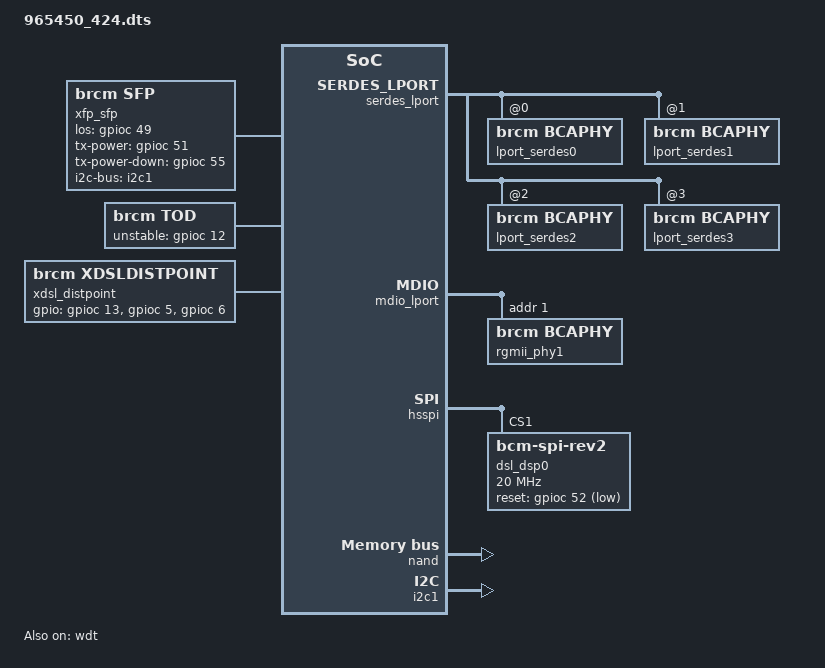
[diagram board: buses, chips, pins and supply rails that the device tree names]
#include "inc/65450.dtsi"

/ {
    memory_controller {
        memcfg = <(BP_DDR_SPEED_1067_14_14_14 | \
                   BP_DDR_TOTAL_SIZE_512MB    | \
                   BP_DDR_DEVICE_WIDTH_16     | \
                   BP_DDR_TOTAL_WIDTH_32BIT)>;
    };
};

/ {
    buttons {
        compatible = "brcm,buttons";
        reset_button {
            ext_irq = <&bca_extintr 54 BCA_GPIO_ACTIVE_LOW (BCA_EXTINTR_TYPE_LOW_LEVEL | BCA_EXTINTR_TYPE_SENSE_EDGE)>;
            press {
                print = "Button Press -- Hold for 5s to do restore to default";
   			};
            hold {
                rst_to_dflt = <5>;
            };
            release {
                reset = <0>;
            };	
        };
    };    

    xfp_sfp: xfp_sfp {
        pinctrl-names = "tx-sd";
        pinctrl-0 = <&a_rogue_onu_in_pin_56>;
        compatible = "brcm,sfp";
        i2c-bus = <&i2c1>;
        los-gpio = <&gpioc 49 GPIO_ACTIVE_HIGH>;
        mod-def0 = <&bca_extintr 60 BCA_GPIO_ACTIVE_LOW (BCA_EXTINTR_TYPE_BOTH_EDGE | BCA_EXTINTR_TYPE_SENSE_EDGE)>;
        tx-power-gpio = <&gpioc 51 GPIO_ACTIVE_HIGH>;
        tx-power-down-gpio = <&gpioc 55 GPIO_ACTIVE_HIGH>;
    };

    wan_serdes {
            compatible = "brcm,pon-drv";
            trx = <&xfp_sfp>;
    };

    tod {
        compatible = "brcm,tod";
        pinctrl-names = "default";
        pinctrl-0 = <&a_wan_nco_1pps_sig_pin_32>;

        unstable-gpio = <&gpioc 12 GPIO_ACTIVE_HIGH>;
    };

    xdsl_distpoint {
        compatible = "brcm,xdsldistpoint";
        gpios = <&gpioc 13 GPIO_ACTIVE_HIGH>, <&gpioc 5 GPIO_ACTIVE_HIGH>, <&gpioc 6 GPIO_ACTIVE_HIGH>;
        gpio-names = "reset-DCXO_PWDN", "70M_CLK_SEL", "CPE_DYING_GASP";
        gpio-default-val = <0 1 1>;
        // gpio-value-names-0 = "EXT", "DCXO";
        // gpio-value-names-2 = "Trigger DSL DYING GASP message to CO", "OFF";
    };

    dsldsp0: dsldsp {
        /* Defined below */
    };
};

&dsldsp0 {
        switchdsp0port0:0 {
                sw-type = "G9991_SW";

                ports {
                        #address-cells = <1>;
                        #size-cells = <0>;

                        port0@0 {
                                reg = <0>;
                        };

                        port1@1 {
                                reg = <1>;
                        };

                        port16@16 {
                                reg = <16>;
                                management;
                                label = "dsp0";
                        };

                        port18@18 {
                                reg = <18>;
                                error-sample;
                        };
                };
        };

        switchdsp0port1:1 {
                sw-type = "G9991_SW";

                ports {
                        #address-cells = <1>;
                        #size-cells = <0>;

                        port2@2 {
                                reg = <2>;
                        };

                        port3@3 {
                                reg = <3>;
                        };
                };
        };

        switchdsp0port2:2 {
                compatible = "brcm,runner-dpu";
                sw-type = "G9991_SW";

                ports {
                        #address-cells = <1>;
                        #size-cells = <0>;

                        port4@4 {
                                reg = <4>;
                        };

                        port5@5 {
                                reg = <5>;
                        };
                };
        };

        switchdsp0port3:3 {
                sw-type = "G9991_SW";

                ports {
                        #address-cells = <1>;
                        #size-cells = <0>;

                        port6@6 {
                                reg = <6>;
                        };

                        port7@7 {
                                reg = <7>;
                        };
                };
        };
};

&serdes_lport {
        lport_serdes0:0 {
                compatible = "brcm,bcaphy";
                phy-type = "SERDES";
                reg = <0x0>;
                caps-no-hdx;
        };

        lport_serdes1:1 {
                compatible = "brcm,bcaphy";
                phy-type = "SERDES";
                reg = <0x1>;
                caps-no-hdx;
        };

        lport_serdes2:2 {
                compatible = "brcm,bcaphy";
                phy-type = "SERDES";
                reg = <0x2>;
                caps-no-hdx;
        };

        lport_serdes3:3 {
                compatible = "brcm,bcaphy";
                phy-type = "SERDES";
                reg = <0x3>;
                caps-no-hdx;
        };
};

&mdio_lport {
        rgmii_phy1:rgmii_phy@1 {
                compatible = "brcm,bcaphy";
                phy-type = "EXT1";
                reg = <0x1>;
                caps-no-hdx;
        };
};

&switch0 {
        pinctrl-names = "default", "rgmii1";
        pinctrl-0 = <&lport_m_mdc_pin_98 &lport_m_mdio_pin_99 &rgmii1_pins>;
        pinctrl-1 = <&rgmii1_pins>;

        /delete-node/ ports;
        ports {
                #address-cells = <1>;
                #size-cells = <0>;

                port0@0 {
                        reg = <0>;
                        mac-type = "LPORT";
                        phy-handle = <&lport_serdes0>;
                        phy-mode = "hsgmii";
                        link = <&switchdsp0port0>;
                };

                port1@1 {
                        reg = <1>;
                        mac-type = "LPORT";
                        phy-handle = <&lport_serdes1>;
                        phy-mode = "hsgmii";
                        link = <&switchdsp0port1>;
                };

                port2@2 {
                        reg = <2>;
                        mac-type = "LPORT";
                        phy-handle = <&lport_serdes2>;
                        phy-mode = "hsgmii";
                        link = <&switchdsp0port2>;
                };

                port3@3 {
                        reg = <3>;
                        mac-type = "LPORT";
                        phy-handle = <&lport_serdes3>;
                        phy-mode = "hsgmii";
                        link = <&switchdsp0port3>;
                };

                port5@5 {
                        reg = <5>;
                        label = "eth0";
                        mac-type = "LPORT";
                        phy-handle = <&rgmii_phy1>;
                        phy-mode = "rgmii";
                        management;
                        rgmii-1p8v;
                        mii-pinctrl-state = "rgmii1";
                };
        };
};

&hsspi {
    pinctrl-names="default";
    pinctrl-0 = <&spim_ss1_b_pin_106>;
    status = "okay";

    #address-cells = <1>;
    #size-cells = <0>;

    dsl_dsp0 {
        compatible = "bcm-spi-rev2";
        reg = <1>; /* chip select 1 */
        spi-max-frequency = <20000000>;
        reset-gpio = <&gpioc 52 GPIO_ACTIVE_LOW>;
        spi-cpha;
        spi-cpol;
    };
};

&nand {
	status = "okay";
};
&wdt {
	status = "okay";
};
&i2c1 {
    pinctrl-0 = <&i2c_2_scl_pin_23 &i2c_2_sda_pin_24>;
    pinctrl-names = "default";
    status = "okay";
};

